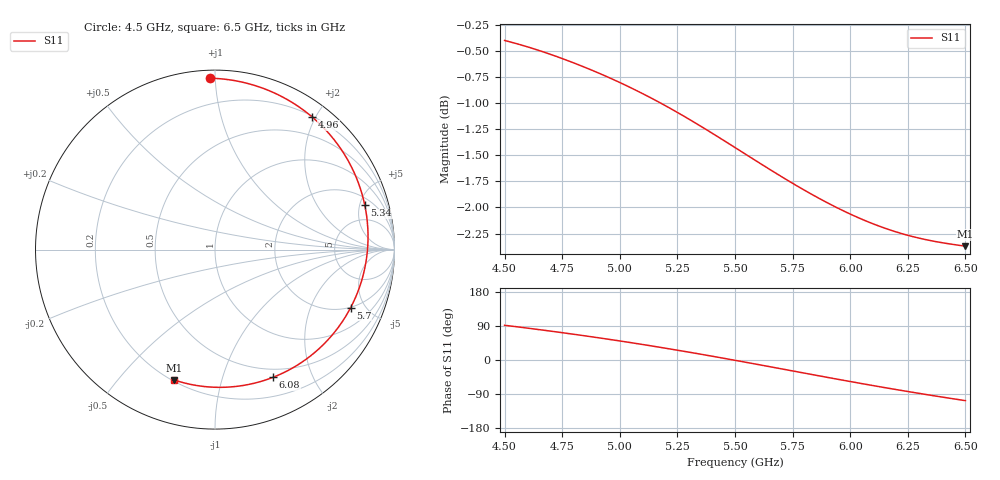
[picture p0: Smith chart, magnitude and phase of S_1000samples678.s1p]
! TOUCHSTONE file generated by CST MICROWAVE STUDIO
! Date and time: Sat Oct 29 00:17:36 2022
! Project name: L.cst
! Parameters = {Di=1.27; Epsilon_r=1.56; InnerDiameter=1.27; Length=2; Lf=10; Lg=60; OuterConductorThickness=0.2921; OuterDiameter=3.6; Wf=3; Wp=41.2; de=1.5; df=6.8; g=0.8; gx=3.31155; gy=3.20645; h=2.34; hf=1.524; px=10.6037; py=8.77672; w=9.7; wx=7.29211; wy=5.57027}
! Header version: 2018
! Port assignment regex: !\s*Touchstone port\s*([0-9]+)\s*=\s*(CST MWS port|CST DS port)\s*([0-9]+|Zmin|Zmax)\s*\(\"(.*)\"\)(\s*mode\s*([0-9]+))?.*
! Touchstone port assignment:
! Touchstone port 1 = CST MWS port 1 ("")
# GHz S DB R 50
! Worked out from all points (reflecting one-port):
!   101 points, 4.5 GHz to 6.5 GHz, reference 50 ohm
!   lowest |S11| = -2.4 dB at 6.5 GHz (marker M1), VSWR 7.37, Z = 10.4 - j35.8 ohm
!   phase of S11 starts at 92 deg and turns -199 deg over the sweep
!   S11 on the Smith chart (normalised r, x): 4.5 GHz: 0.04, +0.97; 4.96 GHz: 0.21, +1.95; 5.34 GHz: 2.74, +5.59; 5.7 GHz: 1.97, -3.94; 6.08 GHz: 0.40, -1.48; 6.5 GHz: 0.21, -0.72
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4.5  -0.40 91.6
4.58  -0.45 85.6
4.64  -0.49 80.9
4.76  -0.58 71.3
4.86  -0.67 62.8
4.96  -0.76 53.9
5  -0.80 50.3
5.06  -0.86 44.6
5.14  -0.95 36.9
5.2  -1.03 30.9
5.26  -1.10 24.8
5.34  -1.21 16.5
5.42  -1.31 7.9
5.5  -1.43 -0.8
5.54  -1.48 -5.2
5.6  -1.56 -11.9
5.7  -1.70 -23.2
5.76  -1.78 -30.0
5.82  -1.86 -36.7
5.88  -1.93 -43.5
5.94  -2.00 -50.2
6  -2.06 -56.8
6.08  -2.14 -65.4
6.16  -2.21 -73.9
6.26  -2.27 -84.2
6.32  -2.30 -90.1
6.38  -2.33 -96.0
6.5  -2.37 -107.2
